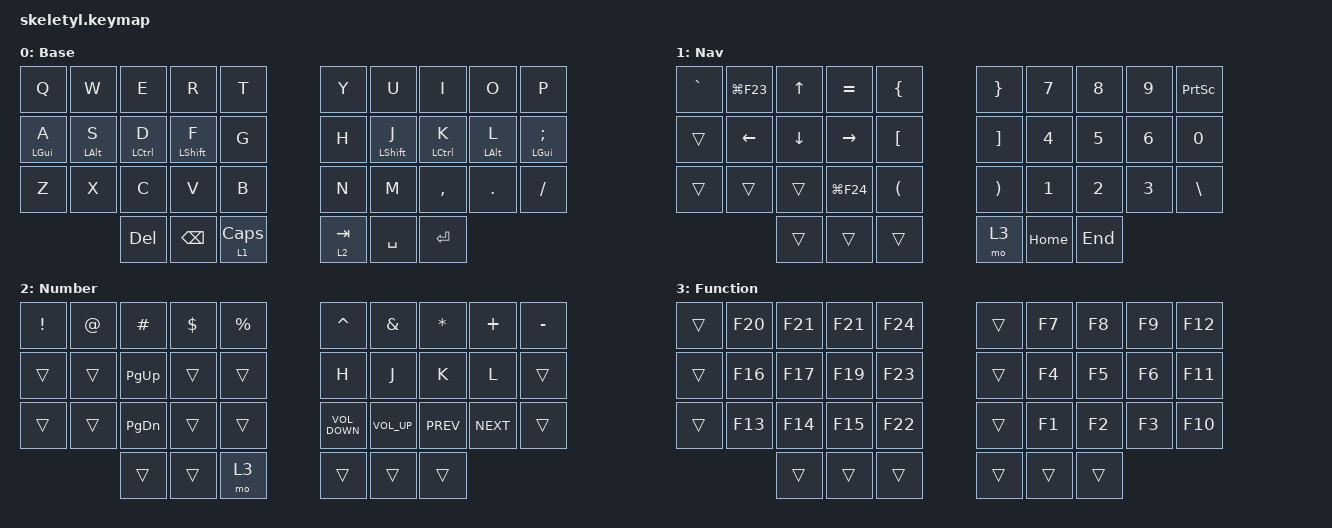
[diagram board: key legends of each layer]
#include <behaviors.dtsi>
#include <dt-bindings/zmk/keys.h>

#define BASE 0
#define SYMBOL 1
#define NUMBER 2
#define FUNCTION 3
#define GAME 4
#define RESET 5
#define KEYS_L 0 1 2 3 4 10 11 12 13 14 20 21 22 23 24
#define KEYS_R 5 6 7 8 9 15 16 17 18 19 25 26 27 28 29
#define THUMBS 30 31 32 33 34 35

&mt {
    flavor = "tap-preferred";
    tapping-term-ms = <200>;
    quick-tap-ms = <150>;
};

/ {
    combos {
        compatible = "zmk,combos";
        timeout-ms = <20>;
        require-prior-idle-ms = <250>;

        combo_esc {
            key-positions = <10 11>;
            bindings = <&kp ESCAPE>;
        };

        combo_unlock {
            key-positions = <0 4>;
            bindings = <&studio_unlock>;
        };

        delete_word {
            bindings = <&kp LC(BACKSPACE)>;
            key-positions = <17 31>;
        };

        left_bracket {
            bindings = <&kp LEFT_BRACKET>;
            key-positions = <7 8>;
        };

        right_bracket {
            bindings = <&kp RIGHT_BRACKET>;
            key-positions = <17 18>;
        };

        delete_word2 {
            bindings = <&kp LC(DELETE)>;
            key-positions = <12 31>;
        };

        apostrophe {
            bindings = <&kp APOSTROPHE>;
            key-positions = <18 19>;
        };

        printscreen {
            bindings = <&kp PRINTSCREEN>;
            key-positions = <3 1>;
        };
    };

    chosen { zmk,physical-layout = &skeletyl_5col_layout; };

    keymap {
        compatible = "zmk,keymap";

        Base {
            display-name = "Base";
            bindings = <
  &kp Q           &kp W           &kp E        &kp R             &kp T         &kp Y      &kp U        &kp I        &kp O           &kp P
  &mt LEFT_GUI A  &mt LEFT_ALT S  &mt LCTRL D  &mt LEFT_SHIFT F  &kp G         &kp H      &mt LSHFT J  &mt LCTRL K  &mt LEFT_ALT L  &mt LEFT_GUI SEMICOLON
  &kp Z           &kp X           &kp C        &kp V             &kp B         &kp N      &kp M        &kp COMMA    &kp DOT         &kp FSLH
                                  &kp DELETE   &kp BACKSPACE     &lt 1 CAPS    &lt 2 TAB  &kp SPACE    &kp ENTER
            >;
        };

        NavNum {
            display-name = "Nav";
            bindings = <
  &kp GRAVE  &kp LG(F23)  &kp UP_ARROW  &kp EQUAL    &kp LEFT_BRACE          &kp RIGHT_BRACE        &kp NUMBER_7  &kp NUMBER_8  &kp NUMBER_9  &kp PRINTSCREEN
  &trans     &kp LEFT     &kp DOWN      &kp RIGHT    &kp LEFT_BRACKET        &kp RIGHT_BRACKET      &kp NUMBER_4  &kp NUMBER_5  &kp NUMBER_6  &kp NUMBER_0
  &trans     &trans       &trans        &kp LG(F24)  &kp LEFT_PARENTHESIS    &kp RIGHT_PARENTHESIS  &kp NUMBER_1  &kp NUMBER_2  &kp NUMBER_3  &kp BACKSLASH
                          &trans        &trans       &trans                  &mo 3                  &kp HOME      &kp END
            >;
        };

        SymMed {
            display-name = "Number";
            bindings = <
  &kp EXCLAMATION  &kp AT_SIGN  &kp HASH       &kp DOLLAR  &kp PERCENT    &kp CARET          &kp AMPERSAND    &kp ASTERISK  &kp PLUS    &kp MINUS
  &trans           &trans       &kp PG_UP      &trans      &trans         &kp H              &kp J            &kp K         &kp L       &trans
  &trans           &trans       &kp PAGE_DOWN  &trans      &trans         &kp C_VOLUME_DOWN  &kp C_VOLUME_UP  &kp C_PREV    &kp C_NEXT  &trans
                                &trans         &trans      &mo 3          &trans             &trans           &trans
            >;
        };

        Fun {
            display-name = "Function";
            bindings = <
  &trans  &kp F20  &kp F21  &kp F21  &kp F24    &trans  &kp F7  &kp F8  &kp F9  &kp F12
  &trans  &kp F16  &kp F17  &kp F19  &kp F23    &trans  &kp F4  &kp F5  &kp F6  &kp F11
  &trans  &kp F13  &kp F14  &kp F15  &kp F22    &trans  &kp F1  &kp F2  &kp F3  &kp F10
                   &trans   &trans   &trans     &trans  &trans  &trans
            >;
        };
    };
};
